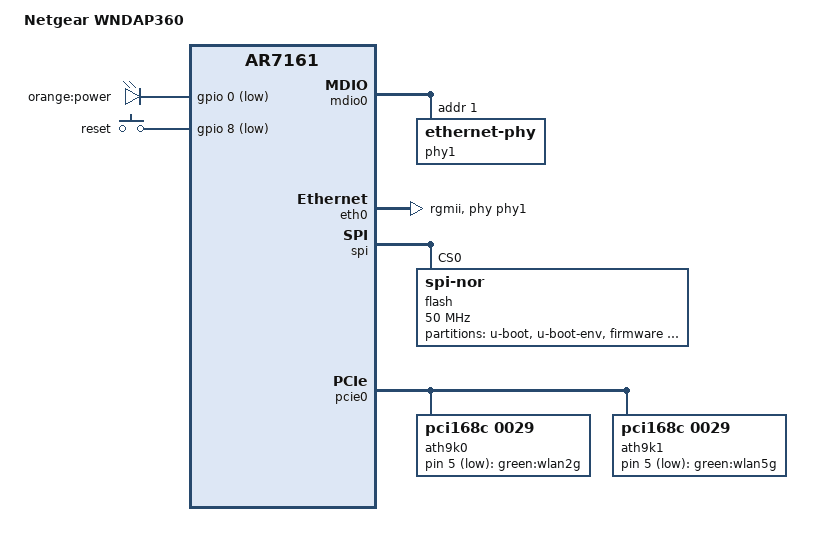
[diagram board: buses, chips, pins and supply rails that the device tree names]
// SPDX-License-Identifier: GPL-2.0-or-later OR MIT

#include "ar7100.dtsi"

#include <dt-bindings/gpio/gpio.h>
#include <dt-bindings/input/input.h>

/ {
	compatible = "netgear,wndap360", "qca,ar7161";
	model = "Netgear WNDAP360";

	aliases {
		led-boot = &led_power_orange;
		led-failsafe = &led_power_orange;
		led-running = &led_power_orange;
		led-upgrade = &led_power_orange;
	};

	leds {
		compatible = "gpio-leds";

		led_power_orange: power_orange {
			label = "orange:power";
			gpios = <&gpio 0 GPIO_ACTIVE_LOW>;
		};
	};

	ath9k-leds {
		compatible = "gpio-leds";

		wifi_2g_green {
			label = "green:wlan2g";
			gpios = <&ath9k0 5 GPIO_ACTIVE_LOW>;
			linux,default-trigger = "phy0tpt";
		};

		wifi_5g_green {
			label = "green:wlan5g";
			gpios = <&ath9k1 5 GPIO_ACTIVE_LOW>;
			linux,default-trigger = "phy1tpt";
		};
	};

	keys {
		compatible = "gpio-keys";

		reset {
			label = "reset";
			linux,code = <KEY_RESTART>;
			gpios = <&gpio 8 GPIO_ACTIVE_LOW>;
		};
	};
};

&mdio0 {
	status = "okay";

	phy1: ethernet-phy@1 {
		reg = <0x1>;
	};
};

&eth0 {
	status = "okay";

	phy-mode = "rgmii";
	phy-handle = <&phy1>;

	nvmem-cells = <&macaddr_art_0>;
	nvmem-cell-names = "mac-address";
};

&spi {
	status = "okay";

	flash@0 {
		compatible = "jedec,spi-nor";
		reg = <0>;
		spi-max-frequency = <50000000>;

		partitions {
			compatible = "fixed-partitions";
			#address-cells = <1>;
			#size-cells = <1>;

			partition@0 {
				label = "u-boot";
				reg = <0x0 0x040000>;
				read-only;
			};

			partition@40000 {
				label = "u-boot-env";
				reg = <0x40000 0x010000>;
				read-only;
			};

			partition@50000 {
				compatible = "denx,uimage";
				label = "firmware";
				reg = <0x50000 0x790000>;
			};

			partition@7e0000 {
				label = "nvram";
				reg = <0x7e0000 0x010000>;
				read-only;
			};

			partition@7f0000 {
				label = "art";
				reg = <0x7f0000 0x010000>;
				read-only;

				compatible = "nvmem-cells";
				#address-cells = <1>;
				#size-cells = <1>;

				macaddr_art_0: macaddr@0 {
					reg = <0x0 0x6>;
				};

				macaddr_art_120c: macaddr@120c {
					reg = <0x120c 0x6>;
				};

				macaddr_art_520c: macaddr@520c {
					reg = <0x520c 0x6>;
				};

				calibration_art_1000: calibration@1000 {
					reg = <0x1000 0xeb8>;
				};

				calibration_art_5000: calibration@5000 {
					reg = <0x5000 0xeb8>;
				};
			};
		};
	};
};

&pcie0 {
	status = "okay";

	ath9k0: wifi@0,11 {
		compatible = "pci168c,0029";
		reg = <0x8800 0 0 0 0>;
		nvmem-cells = <&macaddr_art_120c>, <&calibration_art_1000>;
		nvmem-cell-names = "mac-address", "calibration";
		#gpio-cells = <2>;
		gpio-controller;
	};

	ath9k1: wifi@0,12 {
		compatible = "pci168c,0029";
		reg = <0x9000 0 0 0 0>;
		nvmem-cells = <&macaddr_art_520c>, <&calibration_art_5000>;
		nvmem-cell-names = "mac-address", "calibration";
		mac-address-increment = <1>;
		#gpio-cells = <2>;
		gpio-controller;
	};
};
